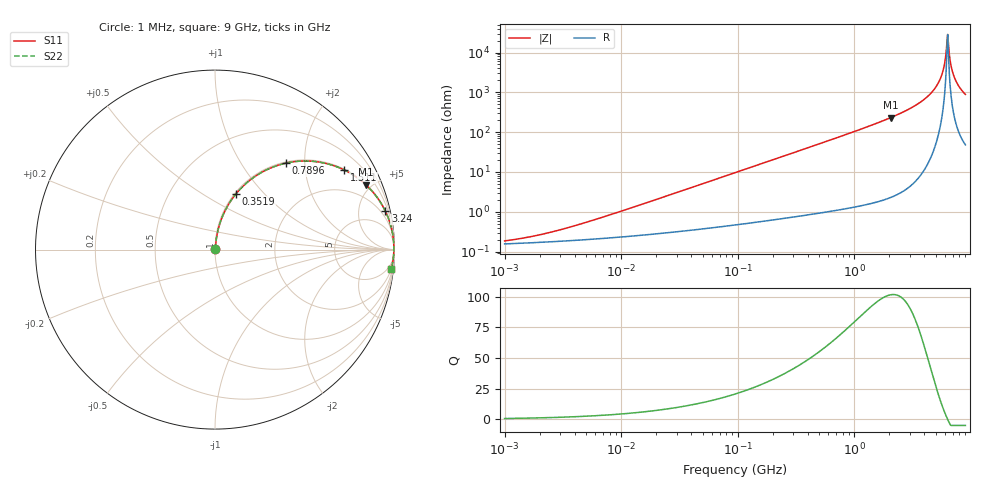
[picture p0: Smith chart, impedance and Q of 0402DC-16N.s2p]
# MHz  S  MA  R  50
!Freq  MagS11  AngS11  MagS21  AngS21  MagS12  AngS12  MagS22  AngS22
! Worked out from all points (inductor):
!   801 points, 1 MHz to 9 GHz, reference 50 ohm
!   read as one part in series: L = 16 nH near 6.252 MHz
!   highest Q = 101 at 2.055 GHz (marker M1), where L = 17.9 nH
!   self-resonance near 6.271 GHz
!   S11 on the Smith chart (normalised r, x): 1 MHz: 1.00, +0.00; 351.9 MHz: 1.02, +0.71; 789.6 MHz: 1.02, +1.61; 1.511 GHz: 1.03, +3.22; 3.24 GHz: 1.10, +8.82; 9 GHz: 2, -18
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1  0.001847 32.9  0.9984 -0.1  0.9984 -0.1  0.001847 32.9
4.597822  0.00501 66.8  0.998 -0.3  0.998 -0.3  0.00501 66.8
20.90065  0.02114 81.2  0.997 -1.2  0.997 -1.2  0.02114 81.2
95.0096  0.09478 81.8  0.9909 -5.4  0.9909 -5.4  0.09478 81.8
351.8647  0.3322 69.3  0.9359 -19.4  0.9359 -19.4  0.3322 69.3
436.8372  0.4009 65.2  0.9083 -23.6  0.9083 -23.6  0.4009 65.2
789.6404  0.6234 50.6  0.7731 -38.6  0.7731 -38.6  0.6234 50.6
1510.989  0.8456 31.7  0.525 -57.7  0.525 -57.7  0.8456 31.7
1985.762  0.908 24.2  0.4101 -65.2  0.4101 -65.2  0.908 24.2
2054.757  0.9143 23.3  0.396 -66.1  0.396 -66.1  0.9143 23.3
3239.942  0.9728 12.7  0.2205 -76.6  0.2205 -76.6  0.9728 12.7
4306.731  0.9899 7.1  0.123 -81.8  0.123 -81.8  0.9899 7.1
5167.238  0.9951 3.7  0.06416 -83.8  0.06416 -83.8  0.9951 3.7
5659.966  0.9963 2.0  0.03545 -83.0  0.03545 -83.0  0.9963 2.0
5856.62  0.9965 1.4  0.02479 -81.3  0.02479 -81.3  0.9965 1.4
6129.496  0.9966 0.6  0.01085 -71.5  0.01085 -71.5  0.9966 0.6
6342.464  0.9965 -0.0  0.003512 6.0  0.003512 6.0  0.9965 -0.0
6562.832  0.9963 -0.6  0.01164 71.1  0.01164 71.1  0.9963 -0.6
6868.611  0.9958 -1.5  0.02561 79.8  0.02561 79.8  0.9958 -1.5
7270.948  0.9948 -2.5  0.04337 81.9  0.04337 81.9  0.9948 -2.5
8055.468  0.9922 -4.3  0.0757 81.9  0.0757 81.9  0.9922 -4.3
9000  0.9878 -6.4  0.1113 80.5  0.1113 80.5  0.9878 -6.4
